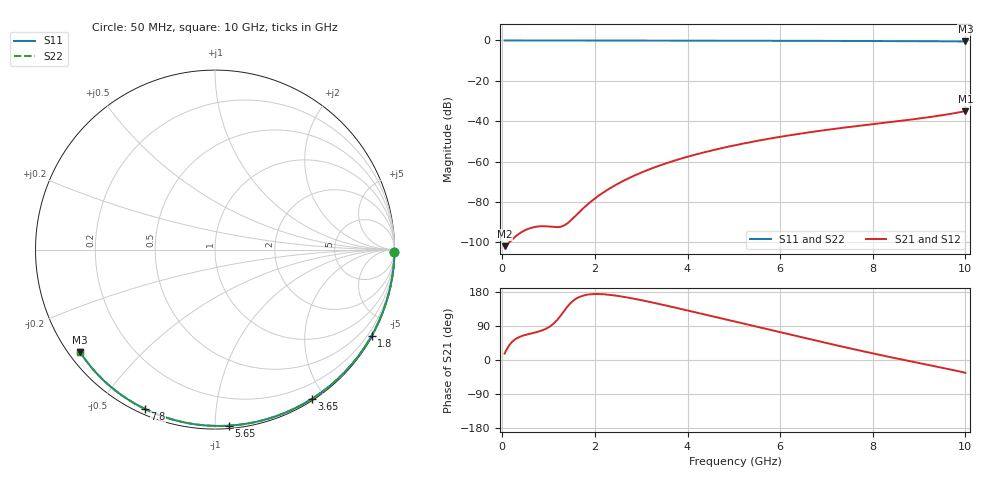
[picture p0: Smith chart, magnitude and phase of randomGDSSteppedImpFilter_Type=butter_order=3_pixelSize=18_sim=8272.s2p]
! freq	dB(S11)	phase(S11)	dB(S12)	phase(S12)
!  dB(S21)	phase(S21)	dB(S22)	phase(S22)
!S-par simulation data
#  GHz  S  DB  R 50
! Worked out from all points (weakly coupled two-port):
!   200 points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, 50 MHz to 10 GHz, reference 50 ohm
!   highest |S21| = -35.02 dB at 10 GHz (marker M1); lowest = -102.0 dB at 50 MHz (marker M2)
!   lowest |S11| = -0.5 dB at 10 GHz (marker M3), VSWR 34.38, Z = 1.62 - j16.8 ohm
!   |S11| at or under -10 dB: nowhere
!   |S22| runs from -0.5 to 0.0 dB; largest |S21 - S12| = 0
!   S11 on the Smith chart (normalised r, x): 50 MHz: open; 1.8 GHz: 0.03, -3.89; 3.65 GHz: 0.02, -1.84; 5.65 GHz: 0.02, -1.08; 7.8 GHz: 0.02, -0.65; 10 GHz: 0.03, -0.34
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0.05  -0.00 -0.8  -101.95 17.0  -101.95 17.0  -0.00 -0.8
0.85  -0.01 -13.8  -92.07 77.7  -92.07 77.7  -0.01 -13.8
1.3  -0.03 -21.0  -92.05 123.7  -92.05 123.7  -0.02 -21.0
1.75  -0.04 -28.1  -83.15 170.0  -83.15 170.0  -0.04 -28.1
1.8  -0.04 -28.8  -82.10 171.5  -82.10 171.5  -0.04 -28.8
1.9  -0.04 -30.4  -80.14 173.4  -80.14 173.4  -0.04 -30.4
2.25  -0.04 -35.9  -74.32 172.8  -74.32 172.8  -0.04 -35.9
2.45  -0.05 -38.9  -71.59 169.9  -71.59 169.9  -0.05 -38.9
2.65  -0.05 -42.0  -69.16 166.0  -69.16 166.0  -0.05 -42.0
3  -0.06 -47.4  -65.49 157.9  -65.49 157.9  -0.06 -47.4
3.4  -0.07 -53.4  -61.97 147.5  -61.97 147.5  -0.07 -53.4
3.65  -0.08 -57.1  -60.04 140.6  -60.04 140.6  -0.08 -57.1
4.3  -0.09 -66.5  -55.78 122.2  -55.78 122.2  -0.09 -66.5
5.05  -0.12 -77.2  -51.82 100.6  -51.82 100.6  -0.12 -77.2
5.65  -0.14 -85.4  -49.16 83.3  -49.16 83.3  -0.14 -85.4
6.15  -0.16 -92.2  -47.21 69.0  -47.21 69.0  -0.16 -92.2
6.7  -0.19 -99.5  -45.29 53.3  -45.29 53.3  -0.19 -99.5
7.25  -0.23 -106.6  -43.59 37.8  -43.59 37.8  -0.23 -106.6
7.8  -0.27 -113.7  -42.03 22.8  -42.03 22.8  -0.27 -113.7
8.35  -0.31 -120.8  -40.53 8.3  -40.53 8.3  -0.31 -120.8
9.3  -0.40 -133.2  -37.74 -15.5  -37.74 -15.5  -0.40 -133.2
10  -0.51 -142.8  -35.02 -33.8  -35.02 -33.8  -0.51 -142.9
